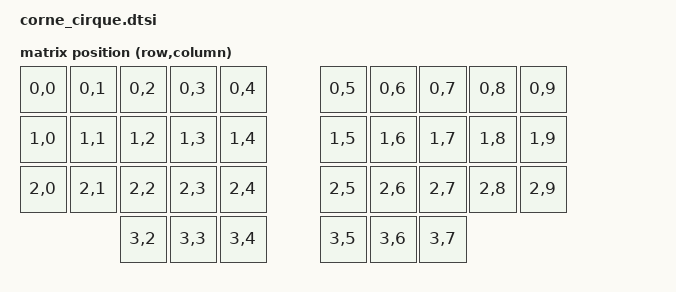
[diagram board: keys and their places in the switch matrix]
/*
 * Copyright (c) 2020 Pete Johanson
 *
 * SPDX-License-Identifier: MIT
 */

#include <dt-bindings/zmk/matrix_transform.h>

/ {
	chosen: chosen {
		zmk,kscan = &kscan;
		zmk,matrix_transform = &default_transform;
	};

	default_transform: keymap_transform_0 {
		compatible = "zmk,matrix-transform";
		columns = <10>;
		rows = <4>;
		map = <
RC(0,0) RC(0,1) RC(0,2) RC(0,3) RC(0,4)  RC(0,5)  RC(0,6) RC(0,7) RC(0,8) RC(0,9)
RC(1,0) RC(1,1) RC(1,2) RC(1,3) RC(1,4)  RC(1,5)  RC(1,6) RC(1,7) RC(1,8) RC(1,9)
RC(2,0) RC(2,1) RC(2,2) RC(2,3) RC(2,4)  RC(2,5)  RC(2,6) RC(2,7) RC(2,8) RC(2,9)
                RC(3,2) RC(3,3) RC(3,4)  RC(3,5)  RC(3,6) RC(3,7)
		>;
	};

	/* Scan matrix declaration */
	kscan: kscan {
		compatible = "zmk,kscan-composite";
		label = "KSCAN";
		rows = <4>;
		columns = <10>;

    /* There is a key matrix by default */
		normal_keys {
			kscan = <&kscan0>;
		};
	};

	trackballs {
		compatible = "zmk,keymap-trackballs";
		trackballs = <&trackpad>;
	};
};

&nice_nano_spi {

	/*
        1 -> sck -> P0.06 -> left 1
        2 -> miso -> P0.17 -> left 5
        3 -> dr -> P1.04 -> left 11
        4 -> cs -> P0.08 -> left 2
        5 -> mosi -> P0.20 -> left 6
        11 -> gnd -> left 3, left 4, right 2
        12 -> vdd -> right 4
    */
    compatible = "nordic,nrf-spim";
    status = "disabled";
    miso-pin = <17>; // P0.17
    mosi-pin = <20>; // P0.20
    sck-pin = <6>; // P0.6
    cs-gpios = <&gpio1 4 GPIO_ACTIVE_LOW>; // P1.04

    trackpad: trackpad@0 {
        compatible = "cirque,pinnacle";
        status = "disabled";
        reg = <0>;
        label = "Cirque Trackpad";
        spi-max-frequency = <10000000>;
        dr-gpios = <&gpio0 8 GPIO_ACTIVE_HIGH>; // P0.8
        invert-y;
        sleep;
        /* no-taps; */
    };
};
  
